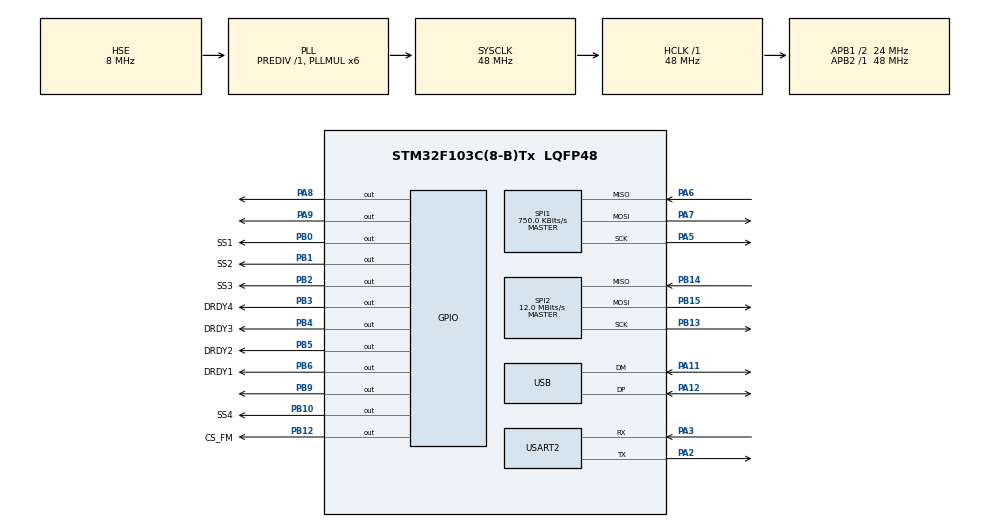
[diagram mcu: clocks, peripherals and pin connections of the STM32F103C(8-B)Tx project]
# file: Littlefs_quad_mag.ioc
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Dma.Request0=USART2_RX
Dma.Request1=USART2_TX
Dma.USART2_RX.0.Direction=DMA_PERIPH_TO_MEMORY
Dma.USART2_RX.0.Instance=DMA1_Channel6
Dma.USART2_RX.0.MemDataAlignment=DMA_MDATAALIGN_BYTE
Dma.USART2_RX.0.MemInc=DMA_MINC_ENABLE
Dma.USART2_RX.0.Mode=DMA_NORMAL
Dma.USART2_RX.0.PeriphDataAlignment=DMA_PDATAALIGN_BYTE
Dma.USART2_RX.0.PeriphInc=DMA_PINC_DISABLE
Dma.USART2_RX.0.Priority=DMA_PRIORITY_LOW
Dma.USART2_TX.1.Direction=DMA_MEMORY_TO_PERIPH
Dma.USART2_TX.1.Instance=DMA1_Channel7
Dma.USART2_TX.1.MemDataAlignment=DMA_MDATAALIGN_BYTE
Dma.USART2_TX.1.MemInc=DMA_MINC_ENABLE
Dma.USART2_TX.1.Mode=DMA_NORMAL
Dma.USART2_TX.1.PeriphDataAlignment=DMA_PDATAALIGN_BYTE
Dma.USART2_TX.1.PeriphInc=DMA_PINC_DISABLE
Dma.USART2_TX.1.Priority=DMA_PRIORITY_LOW
Mcu.Family=STM32F1
Mcu.Name=STM32F103C(8-B)Tx
Mcu.Package=LQFP48
NVIC.DMA1_Channel6_IRQn=true\:0\:0\:false\:false\:true\:false\:true
NVIC.DMA1_Channel7_IRQn=true\:0\:0\:false\:false\:true\:false\:true
NVIC.PriorityGroup=NVIC_PRIORITYGROUP_4
NVIC.USART2_IRQn=true\:0\:0\:false\:false\:true\:true\:true
NVIC.USB_LP_CAN1_RX0_IRQn=true\:0\:0\:false\:false\:true\:false\:true
PA11.Mode=Device
PA11.Signal=USB_DM
PA12.Mode=Device
PA12.Signal=USB_DP
PA13.Mode=Serial_Wire
PA13.Signal=SYS_JTMS-SWDIO
PA14.Mode=Serial_Wire
PA14.Signal=SYS_JTCK-SWCLK
PA2.Mode=Asynchronous
PA2.Signal=USART2_TX
PA3.Mode=Asynchronous
PA3.Signal=USART2_RX
PA5.Mode=Full_Duplex_Master
PA5.Signal=SPI1_SCK
PA6.Mode=Full_Duplex_Master
PA6.Signal=SPI1_MISO
PA7.Mode=Full_Duplex_Master
PA7.Signal=SPI1_MOSI
PA8.GPIO_PuPd=GPIO_PULLUP
PA8.Signal=GPIO_Output
PA9.GPIO_PuPd=GPIO_PULLUP
PA9.Signal=GPIO_Output
PB0.GPIO_Label=SS1
PB0.Signal=GPIO_Output
PB1.GPIO_Label=SS2
PB1.Signal=GPIO_Output
PB10.GPIO_Label=SS4
PB10.Signal=GPIO_Output
PB12.GPIO_Label=CS_FM
PB12.Signal=GPIO_Output
PB13.Mode=Full_Duplex_Master
PB13.Signal=SPI2_SCK
PB14.Mode=Full_Duplex_Master
PB14.Signal=SPI2_MISO
PB15.Mode=Full_Duplex_Master
PB15.Signal=SPI2_MOSI
PB2.GPIO_Label=SS3
PB2.Signal=GPIO_Output
PB3.GPIO_Label=DRDY4
PB3.Signal=GPIO_Output
PB4.GPIO_Label=DRDY3
PB4.Signal=GPIO_Output
PB5.GPIO_Label=DRDY2
PB5.Signal=GPIO_Output
PB6.GPIO_Label=DRDY1
PB6.Signal=GPIO_Output
PB9.Signal=GPIO_Output
PD0-OSC_IN.Mode=HSE-External-Oscillator
PD0-OSC_IN.Signal=RCC_OSC_IN
PD1-OSC_OUT.Mode=HSE-External-Oscillator
PD1-OSC_OUT.Signal=RCC_OSC_OUT
ProjectManager.HeapSize=0x200
ProjectManager.StackSize=0x400
ProjectManager.TargetToolchain=STM32CubeIDE
RCC.AHBFreq_Value=48000000
RCC.APB1CLKDivider=RCC_HCLK_DIV2
RCC.APB1Freq_Value=24000000
RCC.APB1TimFreq_Value=48000000
RCC.APB2Freq_Value=48000000
RCC.APB2TimFreq_Value=48000000
RCC.HCLKFreq_Value=48000000
RCC.PLLMUL=RCC_PLL_MUL6
RCC.SYSCLKFreq_VALUE=48000000
RCC.SYSCLKSource=RCC_SYSCLKSOURCE_PLLCLK
RCC.USBFreq_Value=48000000
RTC.Date=20
RTC.Month=RTC_MONTH_MAY
RTC.Year=24
SPI1.BaudRatePrescaler=SPI_BAUDRATEPRESCALER_64
SPI1.CalculateBaudRate=750.0 KBits/s
SPI1.Direction=SPI_DIRECTION_2LINES
SPI1.Mode=SPI_MODE_MASTER
SPI1.VirtualType=VM_MASTER
SPI2.BaudRatePrescaler=SPI_BAUDRATEPRESCALER_2
SPI2.CLKPolarity=SPI_POLARITY_LOW
SPI2.CalculateBaudRate=12.0 MBits/s
SPI2.Direction=SPI_DIRECTION_2LINES
SPI2.Mode=SPI_MODE_MASTER
SPI2.VirtualType=VM_MASTER
USART2.VirtualMode=VM_ASYNC
USB_DEVICE.CLASS_NAME_FS=CDC
USB_DEVICE.VirtualMode=Cdc
USB_DEVICE.VirtualModeFS=Cdc_FS
VP_RTC_VS_RTC_Activate.Mode=RTC_Enabled
VP_RTC_VS_RTC_Calendar.Mode=RTC_Calendar
VP_USB_DEVICE_VS_USB_DEVICE_CDC_FS.Mode=CDC_FS
board=custom

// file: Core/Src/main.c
/* USER CODE BEGIN Header */
/**
  ******************************************************************************
  * @file           : main.c
  * @brief          : Main program body
  ******************************************************************************
  * @attention
  *
  * <h2><center>&copy; Copyright (c) 2024 STMicroelectronics.
  * All rights reserved.</center></h2>
  *
  * This software component is licensed by ST under BSD 3-Clause license,
  * the "License"; You may not use this file except in compliance with the
  * License. You may obtain a copy of the License at:
  *                        opensource.org/licenses/BSD-3-Clause
  *
  ******************************************************************************
  */
/* USER CODE END Header */
#include "main.h"
#include "usb_device.h"

/* USER CODE BEGIN Includes */
//#include "Quad_mag.h"
#include "lfs_util.h"
#include "lfs.h"
#include "MT25Q.h"
/* USER CODE END Includes */

/* USER CODE BEGIN PD */
#define sector_size 64
/* USER CODE END PD */

RTC_HandleTypeDef hrtc;

SPI_HandleTypeDef hspi1;
SPI_HandleTypeDef hspi2;

UART_HandleTypeDef huart2;
DMA_HandleTypeDef hdma_usart2_rx;
DMA_HandleTypeDef hdma_usart2_tx;

/* USER CODE BEGIN PV */
uint8_t read_X2[4], read_X1[4], read_X0[4];
uint8_t read_Y2[4], read_Y1[4], read_Y0[4];
uint8_t read_Z2[4], read_Z1[4], read_Z0[4];
uint16_t address =0x00;
uint8_t status_reg = 0;
uint8_t READ_FLAG = 0;
uint16_t rx_buff;
DEVICE_ID dev_id;

// variables used by the filesystem
lfs_t lfs;
lfs_file_t file;

/* USER CODE END PV */

void SystemClock_Config(void);
static void MX_GPIO_Init(void);
static void MX_RTC_Init(void);
static void MX_SPI1_Init(void);
static void MX_USART2_UART_Init(void);
static void MX_DMA_Init(void);
static void MX_SPI2_Init(void);

/* USER CODE BEGIN 0 */

int block_device_read(const struct lfs_config *c, lfs_block_t block,
	lfs_off_t off, void *buffer, lfs_size_t size)
{
	Bulk_Read_4B(&hspi2, (block * c->block_size + off), (uint8_t *)buffer,size);
	return 0;
}

// configuration of the filesystem is provided by this struct
const struct lfs_config cfg = {
    // block device operations
    .read  = block_device_read,
    .prog  = Page_Write_4B,
    .erase = Sector_Erase_4B,

    // block device configuration
    .read_size = 16,
    .prog_size = 16,
    .block_size = 4096,
    .block_count = 128,
    .cache_size = 16,
    .lookahead_size = 16,
    .block_cycles = 500,
};
/* USER CODE END 0 */

int main(void)
{
  /* USER CODE BEGIN 1 */
	// mount the filesystem
	HAL_UART_Transmit(&huart2, "Starting Chip Erase.....\n", sizeof("Starting Chip Erase....."), 1000);
		Sector_Erase_4B(&hspi2, address, sector_size);
		HAL_UART_Transmit(&huart2, "Starting Chip Erase.....\n", sizeof("Starting Chip Erase....."), 1000);

  	//id read
		Read_ID(&hspi2, &dev_id);

		HAL_Delay(100);

	    int err = lfs_mount(&lfs, &cfg);

	    // reformat if we can't mount the filesystem
	    // this should only happen on the first boot
	    if (err) {
	        lfs_format(&lfs, &cfg);
	        lfs_mount(&lfs, &cfg);
	    }

	    // read current count
	    uint32_t boot_count = 0;
	    lfs_file_open(&lfs, &file, "boot_count", LFS_O_RDWR | LFS_O_CREAT);
	    lfs_file_read(&lfs, &file, &boot_count, sizeof(boot_count));

	    // update boot count
	    boot_count += 1;
	    lfs_file_rewind(&lfs, &file);
	    lfs_file_write(&lfs, &file, &boot_count, sizeof(boot_count));

	    // remember the storage is not updated until the file is closed successfully
	    lfs_file_close(&lfs, &file);

	    // release any resources we were using
	    lfs_unmount(&lfs);

	    // print the boot count
	    printf("boot_count: %d\n", boot_count);
  /* USER CODE END 1 */

  /* MCU Configuration--------------------------------------------------------*/

  /* Reset of all peripherals, Initializes the Flash interface and the Systick. */
  HAL_Init();

  /* Configure the system clock */
  SystemClock_Config();

  /* Initialize all configured peripherals */
  MX_GPIO_Init();
  MX_RTC_Init();
  MX_SPI1_Init();
  MX_USART2_UART_Init();
  MX_DMA_Init();
  MX_SPI2_Init();
  MX_USB_DEVICE_Init();
  /* USER CODE BEGIN 2 */
//  UART_TransmitString("X1\t Y1\t Z1\t M1\t ");
//   UART_TransmitString("X2\t Y2\t Z2\t M2\t ");
//   UART_TransmitString("X3\t Y3\t Z3\t M3\t ");
//   UART_TransmitString("X4\t Y4\t Z4\t M4\n");
   //UART_TransmitString("X4\tY4\tZ4\tM4\t\n");

 	//Enables all four sensors(Quad-Rm3100)
//   HAL_GPIO_WritePin(GPIOB, GPIO_PIN_9, SET);
//   HAL_GPIO_WritePin(GPIOA, GPIO_PIN_15, SET);
//   HAL_GPIO_WritePin(GPIOB, GPIO_PIN_8, SET);
//   HAL_GPIO_WritePin(GPIOA, GPIO_PIN_8, SET);

   //sets parameters
  // for(int i=0;i<4;i++)
 	//  {

// 		  SET_COUNT(i);
// 		  Continuous_Mode(i);
// 		  TMRC_Mode(i);
 		  //HAL_Delay(100);
 		  //set_time();
 	//  }
  //First erase flash memory

  /* USER CODE END 2 */

  /* Infinite loop */
  while (1)
  {

    /* USER CODE BEGIN 3 */

	 	  //read data
//	 	  for(int j=0;j<4;j++)
//	 	  {
//	 		  Mea_Result(j);
//	 		  Comb_measurement(j);
//	 	  }
//	 	  HAL_Delay(100);
//	 	  myDebug("\n");
  }
  /* USER CODE END 3 */
}

void SystemClock_Config(void)
{
  RCC_OscInitTypeDef RCC_OscInitStruct = {0};
  RCC_ClkInitTypeDef RCC_ClkInitStruct = {0};
  RCC_PeriphCLKInitTypeDef PeriphClkInit = {0};

  /** Initializes the RCC Oscillators according to the specified parameters
  * in the RCC_OscInitTypeDef structure.
  */
  RCC_OscInitStruct.OscillatorType = RCC_OSCILLATORTYPE_LSI|RCC_OSCILLATORTYPE_HSE;
  RCC_OscInitStruct.HSEState = RCC_HSE_ON;
  RCC_OscInitStruct.HSEPredivValue = RCC_HSE_PREDIV_DIV1;
  RCC_OscInitStruct.HSIState = RCC_HSI_ON;
  RCC_OscInitStruct.LSIState = RCC_LSI_ON;
  RCC_OscInitStruct.PLL.PLLState = RCC_PLL_ON;
  RCC_OscInitStruct.PLL.PLLSource = RCC_PLLSOURCE_HSE;
  RCC_OscInitStruct.PLL.PLLMUL = RCC_PLL_MUL6;
  if (HAL_RCC_OscConfig(&RCC_OscInitStruct) != HAL_OK)
  {
    Error_Handler();
  }
  /** Initializes the CPU, AHB and APB buses clocks
  */
  RCC_ClkInitStruct.ClockType = RCC_CLOCKTYPE_HCLK|RCC_CLOCKTYPE_SYSCLK
                              |RCC_CLOCKTYPE_PCLK1|RCC_CLOCKTYPE_PCLK2;
  RCC_ClkInitStruct.SYSCLKSource = RCC_SYSCLKSOURCE_PLLCLK;
  RCC_ClkInitStruct.AHBCLKDivider = RCC_SYSCLK_DIV1;
  RCC_ClkInitStruct.APB1CLKDivider = RCC_HCLK_DIV2;
  RCC_ClkInitStruct.APB2CLKDivider = RCC_HCLK_DIV1;

  if (HAL_RCC_ClockConfig(&RCC_ClkInitStruct, FLASH_LATENCY_1) != HAL_OK)
  {
    Error_Handler();
  }
  PeriphClkInit.PeriphClockSelection = RCC_PERIPHCLK_RTC|RCC_PERIPHCLK_USB;
  PeriphClkInit.RTCClockSelection = RCC_RTCCLKSOURCE_LSI;
  PeriphClkInit.UsbClockSelection = RCC_USBCLKSOURCE_PLL;
  if (HAL_RCCEx_PeriphCLKConfig(&PeriphClkInit) != HAL_OK)
  {
    Error_Handler();
  }
}

static void MX_RTC_Init(void)
{

  RTC_TimeTypeDef sTime = {0};
  RTC_DateTypeDef DateToUpdate = {0};

  /** Initialize RTC Only
  */
  hrtc.Instance = RTC;
  hrtc.Init.AsynchPrediv = RTC_AUTO_1_SECOND;
  hrtc.Init.OutPut = RTC_OUTPUTSOURCE_ALARM;
  if (HAL_RTC_Init(&hrtc) != HAL_OK)
  {
    Error_Handler();
  }

  /** Initialize RTC and set the Time and Date
  */
  sTime.Hours = 0x0;
  sTime.Minutes = 0x0;
  sTime.Seconds = 0x0;

  if (HAL_RTC_SetTime(&hrtc, &sTime, RTC_FORMAT_BCD) != HAL_OK)
  {
    Error_Handler();
  }
  DateToUpdate.WeekDay = RTC_WEEKDAY_MONDAY;
  DateToUpdate.Month = RTC_MONTH_MAY;
  DateToUpdate.Date = 0x20;
  DateToUpdate.Year = 0x24;

  if (HAL_RTC_SetDate(&hrtc, &DateToUpdate, RTC_FORMAT_BCD) != HAL_OK)
  {
    Error_Handler();
  }

}

static void MX_SPI1_Init(void)
{

  /* SPI1 parameter configuration*/
  hspi1.Instance = SPI1;
  hspi1.Init.Mode = SPI_MODE_MASTER;
  hspi1.Init.Direction = SPI_DIRECTION_2LINES;
  hspi1.Init.DataSize = SPI_DATASIZE_8BIT;
  hspi1.Init.CLKPolarity = SPI_POLARITY_LOW;
  hspi1.Init.CLKPhase = SPI_PHASE_1EDGE;
  hspi1.Init.NSS = SPI_NSS_SOFT;
  hspi1.Init.BaudRatePrescaler = SPI_BAUDRATEPRESCALER_64;
  hspi1.Init.FirstBit = SPI_FIRSTBIT_MSB;
  hspi1.Init.TIMode = SPI_TIMODE_DISABLE;
  hspi1.Init.CRCCalculation = SPI_CRCCALCULATION_DISABLE;
  hspi1.Init.CRCPolynomial = 10;
  if (HAL_SPI_Init(&hspi1) != HAL_OK)
  {
    Error_Handler();
  }

}

static void MX_SPI2_Init(void)
{

  /* SPI2 parameter configuration*/
  hspi2.Instance = SPI2;
  hspi2.Init.Mode = SPI_MODE_MASTER;
  hspi2.Init.Direction = SPI_DIRECTION_2LINES;
  hspi2.Init.DataSize = SPI_DATASIZE_8BIT;
  hspi2.Init.CLKPolarity = SPI_POLARITY_LOW;
  hspi2.Init.CLKPhase = SPI_PHASE_1EDGE;
  hspi2.Init.NSS = SPI_NSS_SOFT;
  hspi2.Init.BaudRatePrescaler = SPI_BAUDRATEPRESCALER_2;
  hspi2.Init.FirstBit = SPI_FIRSTBIT_MSB;
  hspi2.Init.TIMode = SPI_TIMODE_DISABLE;
  hspi2.Init.CRCCalculation = SPI_CRCCALCULATION_DISABLE;
  hspi2.Init.CRCPolynomial = 10;
  if (HAL_SPI_Init(&hspi2) != HAL_OK)
  {
    Error_Handler();
  }

}

static void MX_USART2_UART_Init(void)
{

  huart2.Instance = USART2;
  huart2.Init.BaudRate = 115200;
  huart2.Init.WordLength = UART_WORDLENGTH_8B;
  huart2.Init.StopBits = UART_STOPBITS_1;
  huart2.Init.Parity = UART_PARITY_NONE;
  huart2.Init.Mode = UART_MODE_TX_RX;
  huart2.Init.HwFlowCtl = UART_HWCONTROL_NONE;
  huart2.Init.OverSampling = UART_OVERSAMPLING_16;
  if (HAL_UART_Init(&huart2) != HAL_OK)
  {
    Error_Handler();
  }

}

static void MX_DMA_Init(void)
{

  /* DMA controller clock enable */
  __HAL_RCC_DMA1_CLK_ENABLE();

  /* DMA interrupt init */
  /* DMA1_Channel6_IRQn interrupt configuration */
  HAL_NVIC_SetPriority(DMA1_Channel6_IRQn, 0, 0);
  HAL_NVIC_EnableIRQ(DMA1_Channel6_IRQn);
  /* DMA1_Channel7_IRQn interrupt configuration */
  HAL_NVIC_SetPriority(DMA1_Channel7_IRQn, 0, 0);
  HAL_NVIC_EnableIRQ(DMA1_Channel7_IRQn);

}

static void MX_GPIO_Init(void)
{
  GPIO_InitTypeDef GPIO_InitStruct = {0};

  /* GPIO Ports Clock Enable */
  __HAL_RCC_GPIOD_CLK_ENABLE();
  __HAL_RCC_GPIOA_CLK_ENABLE();
  __HAL_RCC_GPIOB_CLK_ENABLE();

  /*Configure GPIO pin Output Level */
  HAL_GPIO_WritePin(GPIOB, SS1_Pin|SS2_Pin|SS3_Pin|SS4_Pin
                          |CS_FM_Pin|DRDY4_Pin|DRDY3_Pin|DRDY2_Pin
                          |DRDY1_Pin|GPIO_PIN_9, GPIO_PIN_RESET);

  /*Configure GPIO pin Output Level */
  HAL_GPIO_WritePin(GPIOA, GPIO_PIN_8|GPIO_PIN_9, GPIO_PIN_RESET);

  /*Configure GPIO pins : SS1_Pin SS2_Pin SS3_Pin SS4_Pin
                           CS_FM_Pin DRDY4_Pin DRDY3_Pin DRDY2_Pin
                           DRDY1_Pin PB9 */
  GPIO_InitStruct.Pin = SS1_Pin|SS2_Pin|SS3_Pin|SS4_Pin
                          |CS_FM_Pin|DRDY4_Pin|DRDY3_Pin|DRDY2_Pin
                          |DRDY1_Pin|GPIO_PIN_9;
  GPIO_InitStruct.Mode = GPIO_MODE_OUTPUT_PP;
  GPIO_InitStruct.Pull = GPIO_NOPULL;
  GPIO_InitStruct.Speed = GPIO_SPEED_FREQ_LOW;
  HAL_GPIO_Init(GPIOB, &GPIO_InitStruct);

  /*Configure GPIO pins : PA8 PA9 */
  GPIO_InitStruct.Pin = GPIO_PIN_8|GPIO_PIN_9;
  GPIO_InitStruct.Mode = GPIO_MODE_OUTPUT_PP;
  GPIO_InitStruct.Pull = GPIO_PULLUP;
  GPIO_InitStruct.Speed = GPIO_SPEED_FREQ_LOW;
  HAL_GPIO_Init(GPIOA, &GPIO_InitStruct);

}

void Error_Handler(void)
{
  __disable_irq();
  while (1)
  {
  }
}

/************************ (C) COPYRIGHT STMicroelectronics *****END OF FILE****/
